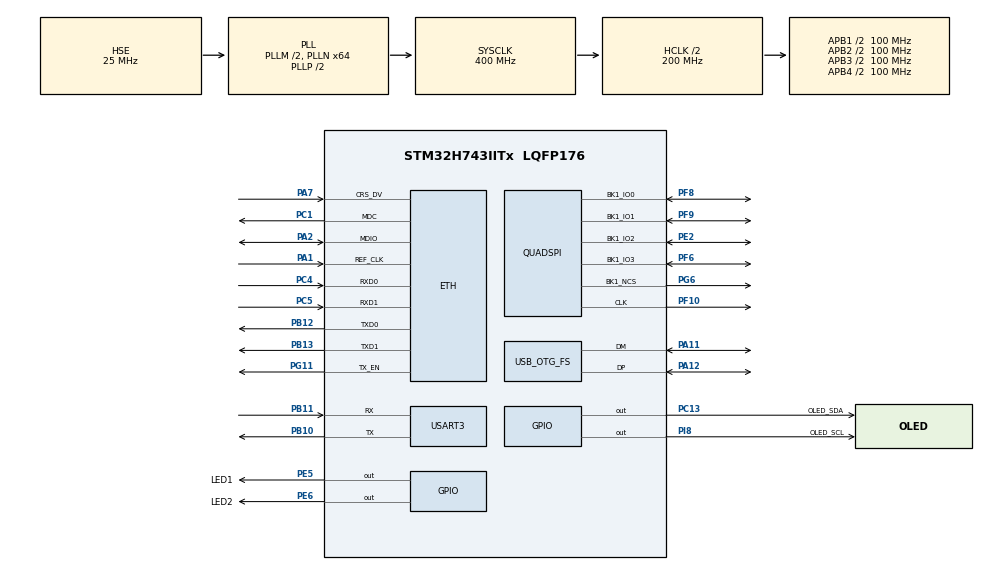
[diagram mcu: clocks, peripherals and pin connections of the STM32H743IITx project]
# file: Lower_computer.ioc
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CORTEX_M7.default_mode_Activation=1
ETH.MediaInterface=HAL_ETH_RMII_MODE
FATFS._CODE_PAGE=936
FATFS._USE_LFN=3
FREERTOS.Tasks01=defaultTask,24,128,StartDefaultTask,Default,NULL,Dynamic,NULL,NULL
Mcu.Family=STM32H7
Mcu.Name=STM32H743IITx
Mcu.Package=LQFP176
NVIC.OTG_FS_EP1_IN_IRQn=true\:5\:0\:false\:false\:true\:true\:true\:true\:true
NVIC.OTG_FS_EP1_OUT_IRQn=true\:5\:0\:false\:false\:true\:true\:true\:true\:true
NVIC.OTG_FS_IRQn=true\:5\:0\:false\:false\:true\:true\:false\:true\:true
NVIC.PriorityGroup=NVIC_PRIORITYGROUP_4
NVIC.TIM1_UP_IRQn=true\:15\:0\:false\:false\:true\:false\:false\:true\:true
NVIC.TimeBase=TIM1_UP_IRQn
NVIC.TimeBaseIP=TIM1
NVIC.USART3_IRQn=true\:5\:0\:false\:false\:true\:true\:true\:true\:true
PA1.Mode=RMII
PA1.Signal=ETH_REF_CLK
PA11.Mode=Host_Only
PA11.Signal=USB_OTG_FS_DM
PA12.Mode=Host_Only
PA12.Signal=USB_OTG_FS_DP
PA13\ (JTMS/SWDIO).Mode=Serial_Wire
PA13\ (JTMS/SWDIO).Signal=DEBUG_JTMS-SWDIO
PA14\ (JTCK/SWCLK).Mode=Serial_Wire
PA14\ (JTCK/SWCLK).Signal=DEBUG_JTCK-SWCLK
PA2.Mode=RMII
PA2.Signal=ETH_MDIO
PA7.Mode=RMII
PA7.Signal=ETH_CRS_DV
PB10.Mode=Asynchronous
PB10.Signal=USART3_TX
PB11.Mode=Asynchronous
PB11.Signal=USART3_RX
PB12.Mode=RMII
PB12.Signal=ETH_TXD0
PB13.Mode=RMII
PB13.Signal=ETH_TXD1
PC1.Mode=RMII
PC1.Signal=ETH_MDC
PC13.GPIO_Label=OLED_SDA
PC13.GPIO_ModeDefaultOutputPP=GPIO_MODE_OUTPUT_OD
PC13.GPIO_PuPd=GPIO_PULLUP
PC13.Signal=GPIO_Output
PC14-OSC32_IN\ (OSC32_IN).Mode=LSE-External-Oscillator
PC14-OSC32_IN\ (OSC32_IN).Signal=RCC_OSC32_IN
PC15-OSC32_OUT\ (OSC32_OUT).Mode=LSE-External-Oscillator
PC15-OSC32_OUT\ (OSC32_OUT).Signal=RCC_OSC32_OUT
PC4.Mode=RMII
PC4.Signal=ETH_RXD0
PC5.Mode=RMII
PC5.Signal=ETH_RXD1
PE2.Mode=Single Bank 1
PE2.Signal=QUADSPI_BK1_IO2
PE5.GPIO_Label=LED1
PE5.Signal=GPIO_Output
PE6.GPIO_Label=LED2
PE6.Signal=GPIO_Output
PF10.Mode=Single Bank 1
PF10.Signal=QUADSPI_CLK
PF6.Mode=Single Bank 1
PF6.Signal=QUADSPI_BK1_IO3
PF8.Mode=Single Bank 1
PF8.Signal=QUADSPI_BK1_IO0
PF9.Mode=Single Bank 1
PF9.Signal=QUADSPI_BK1_IO1
PG11.Mode=RMII
PG11.Signal=ETH_TX_EN
PG6.Mode=Single Bank 1
PG6.Signal=QUADSPI_BK1_NCS
PH0-OSC_IN\ (PH0).Mode=HSE-External-Oscillator
PH0-OSC_IN\ (PH0).Signal=RCC_OSC_IN
PH1-OSC_OUT\ (PH1).Mode=HSE-External-Oscillator
PH1-OSC_OUT\ (PH1).Signal=RCC_OSC_OUT
PI8.GPIO_Label=OLED_SCL
PI8.GPIO_ModeDefaultOutputPP=GPIO_MODE_OUTPUT_OD
PI8.GPIO_PuPd=GPIO_PULLUP
PI8.GPIO_Speed=GPIO_SPEED_FREQ_LOW
PI8.Signal=GPIO_Output
ProjectManager.HeapSize=0x2000
ProjectManager.StackSize=0x2000
ProjectManager.TargetToolchain=MDK-ARM V5.32
RCC.ADCFreq_Value=50390625
RCC.APB1Freq_Value=100000000
RCC.APB2Freq_Value=100000000
RCC.APB3Freq_Value=100000000
RCC.APB4Freq_Value=100000000
RCC.CortexFreq_Value=400000000
RCC.D1PPRE=RCC_APB3_DIV2
RCC.D2PPRE1=RCC_APB1_DIV2
RCC.D2PPRE2=RCC_APB2_DIV2
RCC.D3PPRE=RCC_APB4_DIV2
RCC.DIVM1=2
RCC.DIVN1=64
RCC.DIVQ1=13
RCC.DIVR1=4
RCC.HCLKFreq_Value=200000000
RCC.HPRE=RCC_HCLK_DIV2
RCC.PLL2FRACN=0
RCC.PLL3FRACN=0
RCC.PLLFRACN=0
RCC.PLLSourceVirtual=RCC_PLLSOURCE_HSE
RCC.RTCClockSelection=RCC_RTCCLKSOURCE_LSE
RCC.SYSCLKFreq_VALUE=400000000
RCC.SYSCLKSource=RCC_SYSCLKSOURCE_PLLCLK
RCC.USBFreq_Value=61538461.538461536
RTC.Date=22
RTC.Hours=14
RTC.Month=RTC_MONTH_APRIL
RTC.WeekDay=RTC_WEEKDAY_WEDNESDAY
RTC.Year=26
USART3.VirtualMode-Asynchronous=VM_ASYNC
USB_HOST.BSP.number=1
USB_HOST.USBH_HandleTypeDef-MSC_FS=hUsbHostFS
USB_HOST.USBH_PROCESS_STACK_SIZE-MSC_FS=512
USB_HOST.VirtualModeFS=Msc
USB_HOST0.BSP.STBoard=false
USB_HOST0.BSP.api=Unknown
USB_HOST0.BSP.condition=SW_VBUS_DRIVE_MSC_FS \= false
USB_HOST0.BSP.instance=PE5
USB_HOST0.BSP.ip=GPIO
USB_HOST0.BSP.mode=Output
USB_HOST0.BSP.name=Drive_VBUS_FS
USB_HOST0.BSP.solution=PE5
USB_OTG_FS.VirtualMode=Host_Only
USB_OTG_FS.phy_itface=HCD_PHY_EMBEDDED
VP_FATFS_VS_USB.Mode=USB
VP_FREERTOS_VS_CMSIS_V2.Mode=CMSIS_V2
VP_MEMORYMAP_VS_MEMORYMAP.Mode=CurAppReg
VP_RTC_VS_RTC_Activate.Mode=RTC_Enabled
VP_RTC_VS_RTC_Calendar.Mode=RTC_Calendar
VP_SYS_VS_tim1.Mode=TIM1
VP_USB_HOST_VS_USB_HOST_MSC_FS.Mode=MSC_FS
board=custom

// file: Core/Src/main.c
/* USER CODE BEGIN Header */
/**
  ******************************************************************************
  * @file           : main.c
  * @brief          : Main program body
  ******************************************************************************
  * @attention
  *
  * Copyright (c) 2026 STMicroelectronics.
  * All rights reserved.
  *
  * This software is licensed under terms that can be found in the LICENSE file
  * in the root directory of this software component.
  * If no LICENSE file comes with this software, it is provided AS-IS.
  *
  ******************************************************************************
  */
/* USER CODE END Header */
#include "main.h"
#include "FreeRTOS.h"
#include "cmsis_os2.h"
#include "fatfs.h"
#include "quadspi.h"
#include "rtc.h"
#include "usart.h"
#include "usb_host.h"
#include "gpio.h"

/* USER CODE BEGIN Includes */
#include "OLED_SHOW.h"
#include "DEBUG.h"
#include "shell_port.h"
#include "BEEP.h"
#include "DWT_Delay.h"
#include "USB.h"
#include "BSP_RTC.h"
#include "quadspi.h"
#include "w25q128.h"
#include "FLASH.h"
#include "mempool.h"
/* USER CODE END Includes */

void SystemClock_Config(void);
static void MPU_Config(void);
void MX_FREERTOS_Init(void);

/* USER CODE BEGIN 0 */
uint8_t usart3_rx;
uint32_t RTC_ClockSource = RCC_RTCCLKSOURCE_LSE;
/* USER CODE END 0 */

int main(void)
{

  /* MPU Configuration--------------------------------------------------------*/
  MPU_Config();

  /* MCU Configuration--------------------------------------------------------*/

  /* Reset of all peripherals, Initializes the Flash interface and the Systick. */
  HAL_Init();

  /* Configure the system clock */
  SystemClock_Config();

  /* Initialize all configured peripherals */
  MX_GPIO_Init();
  MX_USART3_UART_Init();
  MX_FATFS_Init();
  MX_RTC_Init();
  MX_QUADSPI_Init();
  /* USER CODE BEGIN 2 */
	DWT_Init();
  userShellInit();
	//RTC_Init();
	beep_init();
	//MX_QUADSPI_Init();   /* TODO: 在CubeMX中使能QUADSPI后，这行可删除（CubeMX会自动生成） */
	// W25Q128_Init();
	// CC936_Init();
  Create_OLED_Task();
	Create_DEBUG_Task();
//	RTC_Set(2026,4,22,16,59,0);//写入RTC时间的操作RTC_Set(4位年,2位月,2位日,2位时,2位分,2位秒)

	// HAL_UART_Receive_IT(&debugSerial, (uint8_t*)&usart3_rx, 1);

	Create_USB_Task();
  MemPool_Init();
	HAL_MPU_Disable();
  FLASH_Init();
	RTC_Get();
	debugShellPrintf("DATA:%d,%d,%d,TIME:%d,%d,%d,week:%d,\r\n",
						NowDate.Year+2000,NowDate.Month,NowDate.Date,NowTime.Hours,
						NowTime.Minutes,NowTime.Seconds,NowDate.WeekDay);
  /* USER CODE END 2 */

  /* Init scheduler */
  osKernelInitialize();  /* Call init function for freertos objects (in cmsis_os2.c) */
  MX_FREERTOS_Init();

  /* Start scheduler */
  osKernelStart();

  /* We should never get here as control is now taken by the scheduler */

  /* Infinite loop */
  while (1)
  {

  }
}

void SystemClock_Config(void)
{
  RCC_OscInitTypeDef RCC_OscInitStruct = {0};
  RCC_ClkInitTypeDef RCC_ClkInitStruct = {0};

  /** Supply configuration update enable
  */
  HAL_PWREx_ConfigSupply(PWR_LDO_SUPPLY);

  /** Configure the main internal regulator output voltage
  */
  __HAL_PWR_VOLTAGESCALING_CONFIG(PWR_REGULATOR_VOLTAGE_SCALE1);

  while(!__HAL_PWR_GET_FLAG(PWR_FLAG_VOSRDY)) {}

  /** Configure LSE Drive Capability
  */
  HAL_PWR_EnableBkUpAccess();
  __HAL_RCC_LSEDRIVE_CONFIG(RCC_LSEDRIVE_LOW);

  /** Initializes the RCC Oscillators according to the specified parameters
  * in the RCC_OscInitTypeDef structure.
  */
  RCC_OscInitStruct.OscillatorType = RCC_OSCILLATORTYPE_HSE|RCC_OSCILLATORTYPE_LSE;
  RCC_OscInitStruct.HSEState = RCC_HSE_ON;
  RCC_OscInitStruct.LSEState = RCC_LSE_ON;
  RCC_OscInitStruct.PLL.PLLState = RCC_PLL_ON;
  RCC_OscInitStruct.PLL.PLLSource = RCC_PLLSOURCE_HSE;
  RCC_OscInitStruct.PLL.PLLM = 2;
  RCC_OscInitStruct.PLL.PLLN = 64;
  RCC_OscInitStruct.PLL.PLLP = 2;
  RCC_OscInitStruct.PLL.PLLQ = 13;
  RCC_OscInitStruct.PLL.PLLR = 4;
  RCC_OscInitStruct.PLL.PLLRGE = RCC_PLL1VCIRANGE_3;
  RCC_OscInitStruct.PLL.PLLVCOSEL = RCC_PLL1VCOWIDE;
  RCC_OscInitStruct.PLL.PLLFRACN = 0;
  if (HAL_RCC_OscConfig(&RCC_OscInitStruct) != HAL_OK)
  {
    Error_Handler();
  }

  /** Initializes the CPU, AHB and APB buses clocks
  */
  RCC_ClkInitStruct.ClockType = RCC_CLOCKTYPE_HCLK|RCC_CLOCKTYPE_SYSCLK
                              |RCC_CLOCKTYPE_PCLK1|RCC_CLOCKTYPE_PCLK2
                              |RCC_CLOCKTYPE_D3PCLK1|RCC_CLOCKTYPE_D1PCLK1;
  RCC_ClkInitStruct.SYSCLKSource = RCC_SYSCLKSOURCE_PLLCLK;
  RCC_ClkInitStruct.SYSCLKDivider = RCC_SYSCLK_DIV1;
  RCC_ClkInitStruct.AHBCLKDivider = RCC_HCLK_DIV2;
  RCC_ClkInitStruct.APB3CLKDivider = RCC_APB3_DIV2;
  RCC_ClkInitStruct.APB1CLKDivider = RCC_APB1_DIV2;
  RCC_ClkInitStruct.APB2CLKDivider = RCC_APB2_DIV2;
  RCC_ClkInitStruct.APB4CLKDivider = RCC_APB4_DIV2;

  if (HAL_RCC_ClockConfig(&RCC_ClkInitStruct, FLASH_LATENCY_2) != HAL_OK)
  {
    Error_Handler();
  }
}

/* USER CODE BEGIN 4 */

void HAL_UART_RxCpltCallback(UART_HandleTypeDef *huart)
{

    if(huart ->Instance == USART3)
    {

			  // shellHandler(&shell, usart3_rx);

			  HAL_UART_Receive_IT(&debugSerial, (uint8_t*)&usart3_rx, 1);
    }
}
/* USER CODE END 4 */

 /* MPU Configuration */

void MPU_Config(void)
{
  MPU_Region_InitTypeDef MPU_InitStruct = {0};

  /* Disables the MPU */
  HAL_MPU_Disable();

  /** Initializes and configures the Region and the memory to be protected
  */
  MPU_InitStruct.Enable = MPU_REGION_ENABLE;
  MPU_InitStruct.Number = MPU_REGION_NUMBER0;
  MPU_InitStruct.BaseAddress = 0x0;
  MPU_InitStruct.Size = MPU_REGION_SIZE_4GB;
  MPU_InitStruct.SubRegionDisable = 0x87;
  MPU_InitStruct.TypeExtField = MPU_TEX_LEVEL0;
  MPU_InitStruct.AccessPermission = MPU_REGION_NO_ACCESS;
  MPU_InitStruct.DisableExec = MPU_INSTRUCTION_ACCESS_DISABLE;
  MPU_InitStruct.IsShareable = MPU_ACCESS_SHAREABLE;
  MPU_InitStruct.IsCacheable = MPU_ACCESS_NOT_CACHEABLE;
  MPU_InitStruct.IsBufferable = MPU_ACCESS_NOT_BUFFERABLE;

  HAL_MPU_ConfigRegion(&MPU_InitStruct);
  /* Enables the MPU */
  HAL_MPU_Enable(MPU_PRIVILEGED_DEFAULT);

}

void HAL_TIM_PeriodElapsedCallback(TIM_HandleTypeDef *htim)
{
  if (htim->Instance == TIM1)
  {
    HAL_IncTick();
  }
}

void Error_Handler(void)
{
  __disable_irq();
  while (1)
  {
  }
}

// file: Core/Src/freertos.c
/* USER CODE BEGIN Header */
/**
  ******************************************************************************
  * File Name          : freertos.c
  * Description        : Code for freertos applications
  ******************************************************************************
  * @attention
  *
  * Copyright (c) 2026 STMicroelectronics.
  * All rights reserved.
  *
  * This software is licensed under terms that can be found in the LICENSE file
  * in the root directory of this software component.
  * If no LICENSE file comes with this software, it is provided AS-IS.
  *
  ******************************************************************************
  */
/* USER CODE END Header */

#include "FreeRTOS.h"
#include "task.h"
#include "main.h"
#include "FreeRTOS.h"
#include "cmsis_os2.h"

/* Definitions for defaultTask */
osThreadId_t defaultTaskHandle;
const osThreadAttr_t defaultTask_attributes = {
  .name = "defaultTask",
  .stack_size = 128 * 4,
  .priority = (osPriority_t) osPriorityNormal,
};

void StartDefaultTask(void *argument);

extern void MX_USB_HOST_Init(void);
void MX_FREERTOS_Init(void); /* (MISRA C 2004 rule 8.1) */

void MX_FREERTOS_Init(void) {

  /* Create the thread(s) */
  /* creation of defaultTask */
  defaultTaskHandle = osThreadNew(StartDefaultTask, NULL, &defaultTask_attributes);

}

void StartDefaultTask(void *argument)
{
  /* init code for USB_HOST */
  MX_USB_HOST_Init();
  for(;;)
  {
    osDelay(1);
  }
}
